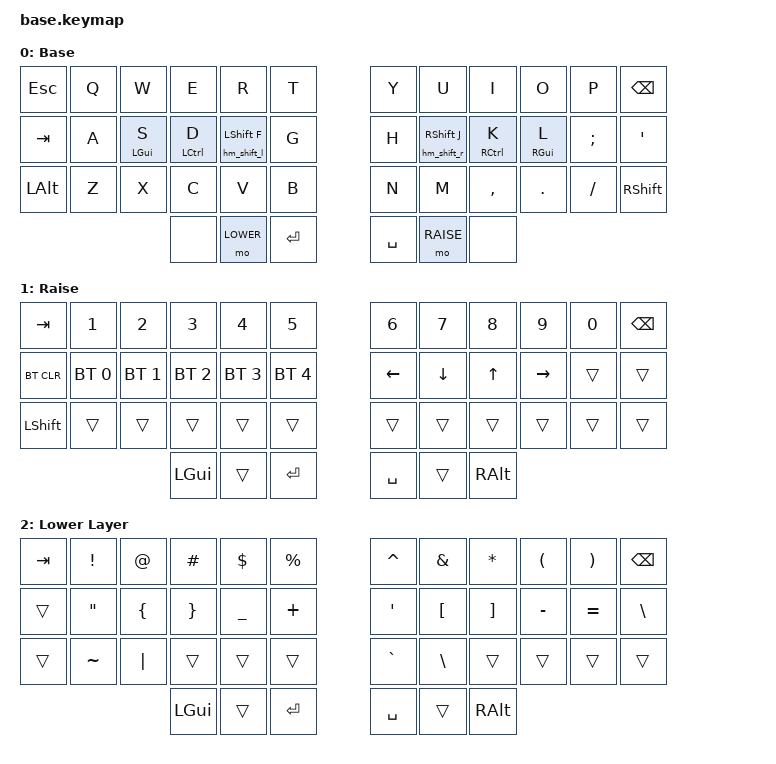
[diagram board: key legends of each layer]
/*
 * Copyright (c) 2020 The ZMK Contributors
 *
 * SPDX-License-Identifier: MIT
 */

// Define layer numbers
#define BASE 0
#define RAISE 1
#define LOWER 2

// ZMK includes
#include <behaviors.dtsi>
#include <dt-bindings/zmk/keys.h>
#include <dt-bindings/zmk/bt.h>
#include <dt-bindings/zmk/rgb.h>
#include <dt-bindings/zmk/ext_power.h>


// Personal includes
#include "includes/custom_keycodes.dtsi"
#include "includes/settings.dtsi"
#include "includes/behaviours_homerow_mods.dtsi"



/ {

  keymap {
    compatible = "zmk,keymap";

    Base_layer {
      display-name = "Base";
      bindings = <
// ╭────────────────────────┬────────────────────────┬────────────────────────┬────────────────────────┬────────────────────────┬────────────────────────╮    ╭────────────────────────┬────────────────────────┬────────────────────────┬───────────────────────┬────────────────────────┬────────────────────────╮
     &kp ESC              &kp Q                    &kp W                    &kp E         &kp R                    &kp T                         &kp Y                    &kp U                    &kp I         &kp O                    &kp P                            &kp BSPC
// ├────────────────────────┼────────────────────────┼────────────────────────┼────────────────────────┼────────────────────────┼────────────────────────┤    ├────────────────────────┼────────────────────────┼────────────────────────┼───────────────────────┼────────────────────────┼────────────────────────┤
     &kp TAB                 &kp A                    &hm_l LGUI S             &hm_l LCTRL D            &hm_shift_l LSHFT F      &kp G                         &kp H                    &hm_shift_r RSHFT J      &hm_r RCTRL K            &hm_r RGUI L             &kp SEMI                 &kp SQT
// ├────────────────────────┼────────────────────────┼────────────────────────┼────────────────────────┼────────────────────────┼────────────────────────┤    ├────────────────────────┼────────────────────────┼────────────────────────┼───────────────────────┼────────────────────────┼────────────────────────┤
     &kp LALT                &kp Z                    &kp X                    &kp C                    &kp V                    &kp B                         &kp N                    &kp M                    &kp COMMA                &kp DOT                  &kp FSLH                 &kp RSHFT
// ╰────────────────────────┴────────────────────────┴────────────────────────┴────────────────────────┼────────────────────────┼────────────────────────┤    ├────────────────────────┼────────────────────────┼────────────────────────┼───────────────────────┼────────────────────────┼────────────────────────╯
                                                                                &none                    &mo LOWER                &kp RET                       &kp SPACE                &mo RAISE                &none
//                                                                            ╰────────────────────────┴────────────────────────┴────────────────────────╯    ╰────────────────────────┴────────────────────────┴────────────────────────╯

      >;
     //  sensor-bindings = <&inc_dec_kp C_VOL_DN C_VOL_UP &inc_dec_kp C_PREV C_NEXT>;
    };

   
    Raise_layer {
      display-name = "Raise";
      bindings = <
// ╭────────────────────────┬────────────────────────┬────────────────────────┬────────────────────────┬────────────────────────┬────────────────────────╮    ╭────────────────────────┬────────────────────────┬────────────────────────┬────────────────────────┬────────────────────────┬────────────────────────╮
	   &kp TAB								  &kp N1						       &kp N2       						&kp N3       						 &kp N4						        &kp N5         								&kp N6								   &kp N7   								&kp N8 									 &kp N9								    &kp N0 									 &kp BSPC
// ├────────────────────────┼────────────────────────┼────────────────────────┼────────────────────────┼────────────────────────┼────────────────────────┤    ├────────────────────────┼────────────────────────┼────────────────────────┼────────────────────────┼────────────────────────┼────────────────────────┤
     &bt BT_CLR 							&bt BT_SEL 0 						 &bt BT_SEL 1 						&bt BT_SEL 2 						 &bt BT_SEL 3 						&bt BT_SEL 4   								&kp LEFT 								 &kp DOWN 								&kp UP 									 &kp RIGHT 								&trans									 &trans
// ├────────────────────────┼────────────────────────┼────────────────────────┼────────────────────────┼────────────────────────┼────────────────────────┤    ├────────────────────────┼────────────────────────┼────────────────────────┼────────────────────────┼────────────────────────┼────────────────────────┤
	   &kp LSHFT  							&trans       						 &trans       						&trans       						 &trans       					  &trans         								&trans   								 &trans   								&trans 									 &trans    								&trans 									 &trans
// ╰────────────────────────┴────────────────────────┴────────────────────────┴────────────────────────┼────────────────────────┼────────────────────────┤    ├────────────────────────┼────────────────────────┼────────────────────────┼────────────────────────┴────────────────────────┼────────────────────────╯
																																							  &kp LGUI     						 &trans       						&kp RET      								  &kp SPACE  							 &trans   								&kp RALT
//                                                                            ╰────────────────────────┴────────────────────────┴────────────────────────╯    ╰────────────────────────┴────────────────────────┴────────────────────────╯
      >;
     //  sensor-bindings = <&inc_dec_kp C_BRI_DN C_BRI_UP &inc_dec_kp LEFT RIGHT>;
    };

   Lower_layer {
      display-name = "Lower Layer";
      bindings = <
// ╭────────────────────────┬────────────────────────┬────────────────────────┬────────────────────────┬────────────────────────┬────────────────────────╮    ╭────────────────────────┬────────────────────────┬────────────────────────┬────────────────────────┬────────────────────────┬────────────────────────╮
     &kp TAB                  &kp EXCL                 &kp AT                   &kp HASH                 &kp DLLR                 &kp PRCNT                     &kp CARET                &kp AMPS                 &kp ASTRK                &kp LPAR                 &kp RPAR                 &kp BSPC
// ├────────────────────────┼────────────────────────┼────────────────────────┼────────────────────────┼────────────────────────┼────────────────────────┤    ├────────────────────────┼────────────────────────┼────────────────────────┼────────────────────────┼────────────────────────┼────────────────────────┤
     &trans                   &kp DQT                  &kp LBRC                 &kp RBRC                 &kp UNDER                &kp PLUS                      &kp SQT                  &kp LBKT                 &kp RBKT                 &kp MINUS                &kp EQUAL                &kp BSLH
// ├────────────────────────┼────────────────────────┼────────────────────────┼────────────────────────┼────────────────────────┼────────────────────────┤    ├────────────────────────┼────────────────────────┼────────────────────────┼────────────────────────┼────────────────────────┼────────────────────────┤
     &trans                   &kp TILDE                &kp PIPE                 &trans                   &trans                   &trans                        &kp GRAVE                &kp BSLH                 &trans                   &trans                   &trans                   &trans
// ╰────────────────────────┴────────────────────────┴────────────────────────┴────────────────────────┼────────────────────────┼────────────────────────┤    ├────────────────────────┼────────────────────────┼────────────────────────┼────────────────────────┴────────────────────────┼────────────────────────╯
																																							  &kp LGUI     						 &trans       						&kp RET      								  &kp SPACE  							 &trans   								&kp RALT
//                                                                            ╰────────────────────────┴────────────────────────┴────────────────────────╯    ╰────────────────────────┴────────────────────────┴────────────────────────╯
      >;
     //  sensor-bindings = <&inc_dec_kp C_BRI_DN C_BRI_UP &inc_dec_kp LEFT RIGHT>;
    };

   };
};
